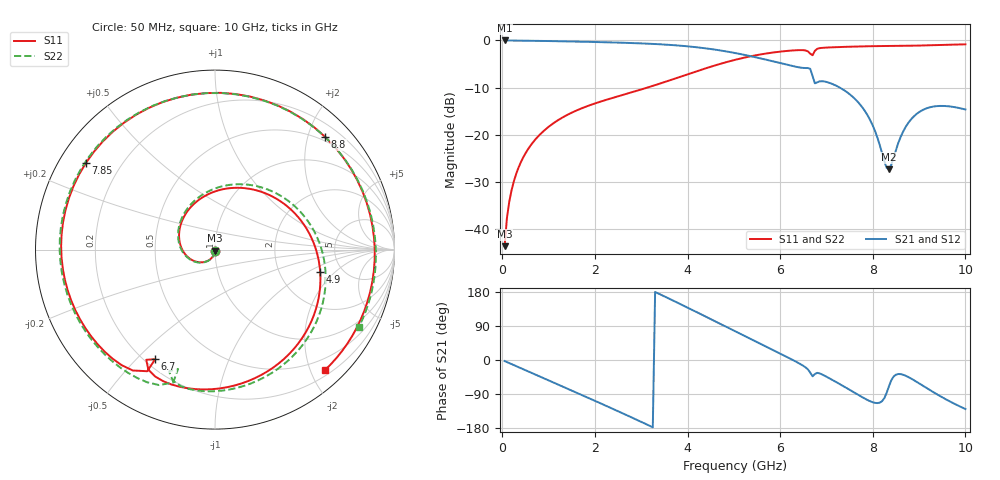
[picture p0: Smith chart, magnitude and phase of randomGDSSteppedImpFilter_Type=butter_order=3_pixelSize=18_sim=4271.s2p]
! freq	dB(S11)	phase(S11)	dB(S12)	phase(S12)
!  dB(S21)	phase(S21)	dB(S22)	phase(S22)
!S-par simulation data
#  GHz  S  DB  R 50
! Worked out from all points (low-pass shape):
!   200 points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, 50 MHz to 10 GHz, reference 50 ohm
!   highest |S21| = -0.01 dB at 50 MHz (marker M1); lowest = -27.3 dB at 8.35 GHz (marker M2)
!   |S21| within 3 dB of the highest: start of sweep to 5.201 GHz
!   lowest |S11| = -43.7 dB at 50 MHz (marker M3), VSWR 1.01, Z = 50 - j0.655 ohm
!   |S11| at or under -10 dB: start of sweep to 3.135 GHz
!   |S22| runs from -43.7 to -0.8 dB; largest |S21 - S12| = 0
!   S11 on the Smith chart (normalised r, x): 50 MHz: 1.00, -0.01; 4.9 GHz: 3.42, -1.35; 6.7 GHz: 0.24, -0.57; 7.85 GHz: 0.08, +0.30; 8.8 GHz: 0.42, +2.31; 10 GHz: 0.29, -2.24
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0.05  -43.67 -91.7  -0.01 -2.7  -0.01 -2.7  -43.69 -91.7
0.1  -37.72 -94.6  -0.01 -5.4  -0.01 -5.4  -37.72 -94.5
0.2  -31.81 -100.5  -0.02 -10.8  -0.02 -10.8  -31.81 -100.2
0.5  -23.98 -117.8  -0.05 -26.9  -0.05 -26.9  -23.98 -117.0
1.15  -17.27 -153.7  -0.16 -61.8  -0.16 -61.8  -17.27 -151.8
1.75  -14.27 173.1  -0.28 -94.1  -0.28 -94.1  -14.27 176.4
2.65  -11.43 122.3  -0.50 -143.5  -0.50 -143.5  -11.43 128.4
3.4  -9.17 78.4  -0.81 173.8  -0.81 173.8  -9.18 86.8
4.2  -6.54 30.4  -1.45 126.2  -1.45 126.2  -6.55 40.1
4.9  -4.44 -12.2  -2.44 83.6  -2.44 83.6  -4.44 -2.0
5.05  -4.06 -21.3  -2.71 74.4  -2.71 74.4  -4.05 -11.1
5.5  -3.11 -48.6  -3.64 47.1  -3.64 47.1  -3.09 -38.3
6  -2.38 -79.0  -4.81 16.9  -4.81 16.9  -2.36 -68.5
6.55  -2.14 -115.2  -5.86 -19.6  -5.86 -19.6  -2.12 -104.1
6.7  -3.15 -118.6  -7.58 -43.1  -7.58 -43.1  -3.15 -107.2
6.85  -1.64 -128.9  -8.70 -35.2  -8.70 -35.2  -1.62 -117.1
7.3  -1.40 -164.5  -10.08 -64.4  -10.08 -64.4  -1.36 -151.1
7.85  -1.25 146.2  -15.29 -103.3  -15.29 -103.3  -1.22 162.8
8.35  -1.17 93.5  -27.33 -69.0  -27.33 -69.0  -1.18 113.4
8.8  -1.13 45.7  -17.08 -47.1  -17.08 -47.1  -1.17 67.3
9.35  -1.00 -3.8  -13.98 -87.9  -13.98 -87.9  -1.03 17.3
10  -0.83 -47.4  -14.66 -129.3  -14.66 -129.3  -0.82 -28.2
